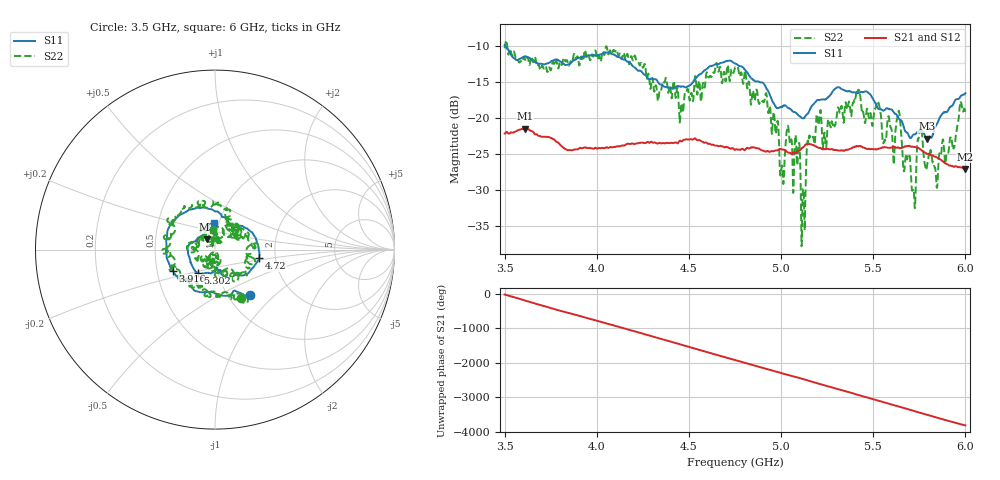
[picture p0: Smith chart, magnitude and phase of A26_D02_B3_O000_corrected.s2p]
! Created with skrf 1.9.0 (http://scikit-rf.org).
# Hz S RI R 50.0
!freq ReS11 ImS11 ReS21 ImS21 ReS12 ImS12 ReS22 ImS22
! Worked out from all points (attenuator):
!   1601 points, 3.5 GHz to 6 GHz, reference 50 ohm
!   highest |S21| = -21.46 dB at 3.611 GHz (marker M1); lowest = -27.0 dB at 6 GHz (marker M2)
!   lowest |S11| = -22.8 dB at 5.791 GHz (marker M3), VSWR 1.16, Z = 45.5 + j5.23 ohm
!   |S11| at or under -10 dB: 3.503 GHz to end of sweep
!   |S22| runs from -37.7 to -9.2 dB; largest |S21 - S12| = 0.0009
!   S11 on the Smith chart (normalised r, x): 3.5 GHz: 1.25, -0.71; 3.916 GHz: 0.61, -0.16; 4.72 GHz: 1.64, -0.17; 5.302 GHz: 0.80, -0.21; 6 GHz: 0.94, +0.29
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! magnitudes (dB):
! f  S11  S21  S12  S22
! 3.5 GHz  -9.9  -22.1  -22.1  -10.3
! 3.611 GHz  -11.4  -21.5  -21.5  -11.9
! 3.916 GHz  -11.6  -24.2  -24.2  -11.5
! 3.917 GHz  -11.6  -24.2  -24.2  -11.5
! 4.198 GHz  -12.9  -23.6  -23.5  -11.9
! 4.334 GHz  -15.1  -23.5  -23.4  -17.4
! 4.72 GHz  -12.0  -24.2  -24.2  -14.8
! 4.75 GHz  -12.4  -24.4  -24.3  -13.1
! 4.927 GHz  -16.1  -24.5  -24.6  -18.3
! 5.005 GHz  -18.4  -24.3  -24.3  -26.6
! 5.036 GHz  -18.6  -24.8  -24.7  -21.1
! 5.088 GHz  -19.5  -24.7  -24.7  -26.5
! 5.12 GHz  -20.0  -24.0  -24.0  -29.8
! 5.167 GHz  -18.3  -23.7  -23.7  -22.8
! 5.302 GHz  -15.8  -24.4  -24.4  -19.9
! 5.417 GHz  -16.6  -23.9  -23.9  -16.3
! 5.584 GHz  -18.8  -24.1  -24.1  -19.7
! 5.639 GHz  -20.1  -24.1  -24.1  -19.0
! 5.719 GHz  -22.3  -24.0  -23.9  -30.0
! 5.752 GHz  -21.9  -24.3  -24.2  -21.8
! 5.791 GHz  -22.8  -24.9  -24.9  -26.8
! 6 GHz  -16.6  -27.0  -27.0  -19.3
